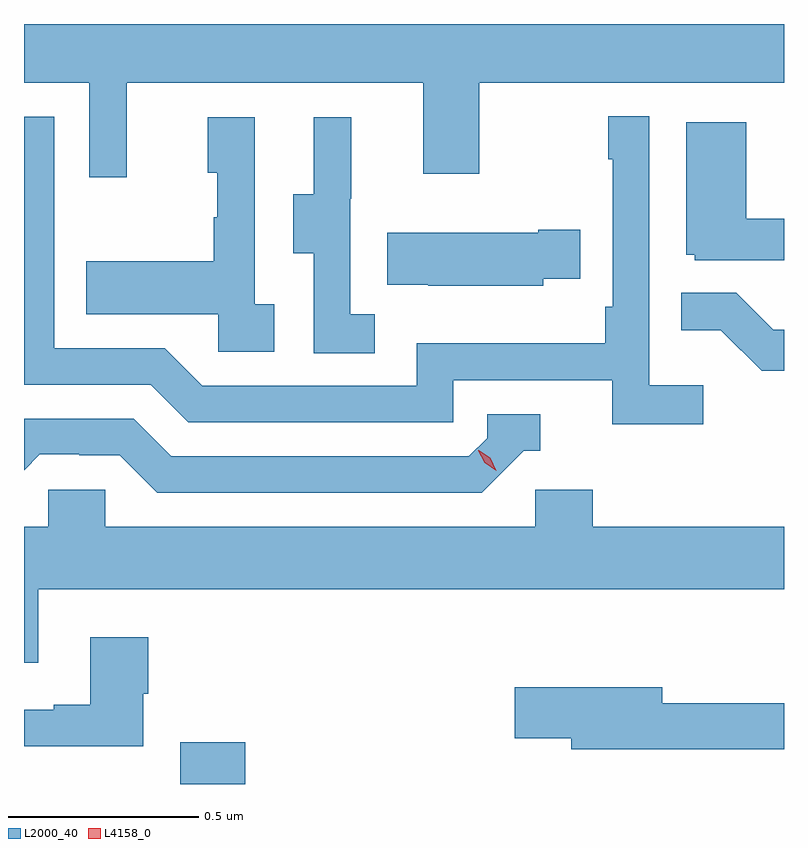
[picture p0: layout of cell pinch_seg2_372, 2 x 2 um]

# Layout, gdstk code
import gdstk
lib = gdstk.Library(unit=1e-6, precision=1e-09)
def R(c, l, rs):  # rectangles x0, y0, x1, y1
    for r in rs: c.add(gdstk.rectangle(r[:2], r[2:], *l))
def P(c, l, *ps):  # polygons
    for p in ps: c.add(gdstk.Polygon(p, *l))
L2000_40 = (2000, 40)
L4158_0 = (4158, 0)

pinch_seg2_372 = lib.new_cell('pinch_seg2_372')
R(pinch_seg2_372, L2000_40, [(988.52,631.139,988.691,631.249)])
P(pinch_seg2_372, L2000_40, [(988.379,632.984),(989.159,632.984),(989.159,632.745),(989.307,632.745),(989.307,632.984),(990.109,632.984),(990.109,633.139),(988.109,633.139),(988.109,632.984),(988.281,632.984),(988.281,632.736),(988.379,632.736)],
  [(989.896,632.188),(989.754,632.188),(989.754,632.896),(989.646,632.896),(989.646,632.783),(989.658,632.783),(989.658,632.395),(989.638,632.395),(989.638,632.299),(989.142,632.299),(989.142,632.187),(988.578,632.187),(988.479,632.286),(988.188,632.286),(988.188,632.895),(988.109,632.895),(988.109,632.19),(988.442,632.19),(988.541,632.091),(989.238,632.091),(989.238,632.202),(989.657,632.202),(989.657,632.086),(989.896,632.086)],
  [(989.032,632.375),(988.968,632.375),(988.968,632.679),(988.97,632.679),(988.97,632.893),(988.871,632.893),(988.871,632.691),(988.817,632.691),(988.817,632.536),(988.872,632.536),(988.872,632.272),(989.032,632.272)],
  [(988.768,632.402),(988.716,632.402),(988.716,632.893),(988.592,632.893),(988.592,632.748),(988.618,632.748),(988.618,632.63),(988.608,632.63),(988.608,632.515),(988.273,632.515),(988.273,632.375),(988.62,632.375),(988.62,632.277),(988.768,632.277)],
  [(990.109,632.626),(990.01,632.626),(990.01,632.881),(989.852,632.881),(989.852,632.532),(989.874,632.532),(989.874,632.517),(990.109,632.517)],
  [(989.475,632.468),(989.573,632.468),(989.573,632.598),(989.462,632.598),(989.462,632.59),(989.065,632.59),(989.065,632.453),(989.173,632.453),(989.173,632.45),(989.475,632.45)],
  [(990.109,632.334),(990.081,632.334),(989.983,632.432),(989.839,632.432),(989.839,632.333),(989.943,632.333),(990.05,632.226),(990.109,632.226)],
  [(989.424,632.016),(989.467,632.016),(989.467,632.112),(989.328,632.112),(989.328,632.049),(989.28,632.001),(988.497,632.001),(988.398,632.1),(988.109,632.1),(988.109,631.965),(988.151,632.007),(988.254,632.007),(988.254,632.004),(988.361,632.004),(988.46,631.905),(989.313,631.905)],
  [(988.147,631.652),(990.109,631.652),(990.109,631.816),(989.606,631.816),(989.606,631.914),(989.454,631.914),(989.454,631.816),(988.323,631.816),(988.323,631.914),(988.173,631.914),(988.173,631.816),(988.109,631.816),(988.109,631.458),(988.147,631.458)],
  [(988.423,631.377),(988.436,631.377),(988.436,631.525),(988.283,631.525),(988.283,631.348),(988.187,631.348),(988.187,631.335),(988.109,631.335),(988.109,631.238),(988.423,631.238)],
  [(990.109,631.351),(989.788,631.351),(989.788,631.393),(989.4,631.393),(989.4,631.259),(989.549,631.259),(989.549,631.23),(990.109,631.23)])
P(pinch_seg2_372, L4158_0, [(989.352,631.964),(989.321,631.984),(989.305,632.016),(989.305,632.017),(989.306,632.017),(989.336,631.997),(989.352,631.964),(989.352,631.964)])

lib.write_gds('pinch_seg2_372.gds')
